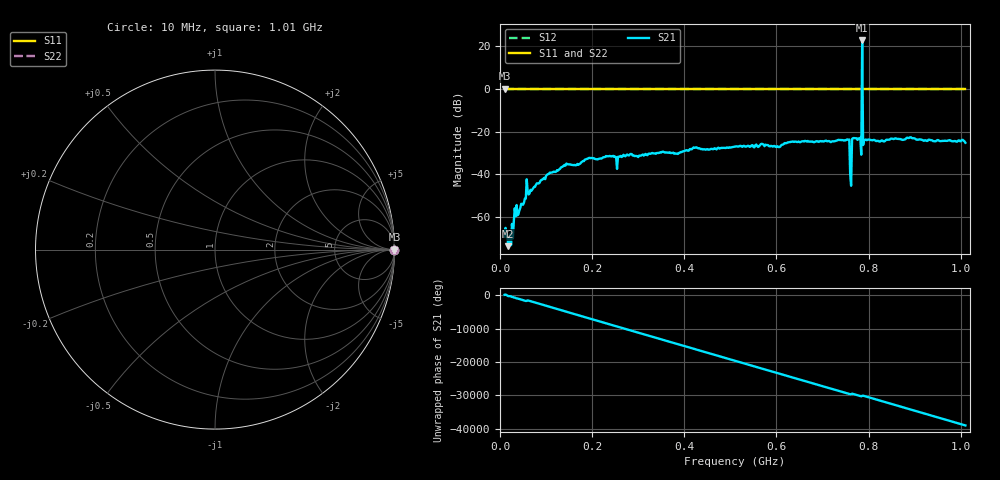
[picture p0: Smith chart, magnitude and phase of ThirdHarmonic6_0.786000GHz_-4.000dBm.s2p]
! 8/16/2025 2:13:25 AM
! C:\ANRITSUVNA\TEMP\TEMP.S2P
! CHANNEL.1
! TR.MEASUREMENT
! RAW.DATA
! RF.CORRECTION.OFF
! AVERAGING.OFF
! IF.BANDWIDTH: 5KHZ
! SWEEPTYPE:  FREQ.SWEEP(Linear)
! Reference Plane Port Info
! PORT:  PORT1  PORT2
! DISTANCE:  0  m  0  m
! TIME:  0  s  0  s
! PHASE.OFFSET:  0  deg.  0  deg.
! LOSS:  0  dB  0  dB
! REF.LOSS:  0  dB  0  dB
! REF.FREQ:  0  Hz  0  Hz
! Power Info
! POWER:  -20  dBm  -20  dBm
! EFF.POWER:  -20  dBm  -20  dBm
! SOURCE.ATTEN:  0  dB  0  dB
! TEST.ATTEN:  0  dB  0  dB
# GHZ S RI R 50.0
! FREQ.GHZ  S11RE  S11IM  S21RE  S21IM  S12RE  S12IM  S22RE  S22IM
!; PortSelection: Port_12
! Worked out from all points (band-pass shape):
!   501 points, 10 MHz to 1.01 GHz, reference 50 ohm
!   highest |S21| = 22.50 dB at 786 MHz (marker M1); lowest = -73.5 dB at 18 MHz (marker M2)
!   |S21| within 3 dB of the highest: 785.8875 MHz to 786.1229 MHz (235.4 kHz wide, 0.03 % of centre)
!   lowest |S11| = 0.0 dB at 10 MHz (marker M3)
!   |S11| at or under -10 dB: nowhere
!   |S22| runs from 0.0 to 0.0 dB; largest |S21 - S12| = 13
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0.01  1 0  -0.000318 0.00014  1 0  1 0
0.018  1 0  -9.06e-05 0.00019  1 0  1 0
0.024  1 0  0.000168 0.000147  1 0  1 0
0.034  1 0  1.65e-05 -0.00105  1 0  1 0
0.042  1 0  0.00129 -0.000651  1 0  1 0
0.062  1 0  -0.00292 -0.00174  1 0  1 0
0.142  1 0  -0.015 -0.00558  1 0  1 0
0.178  1 0  -0.0192 -0.00464  1 0  1 0
0.344  1 0  0.031 -0.00566  1 0  1 0
0.51  1 0  -0.0422 0.0136  1 0  1 0
0.678  1 0  -0.0261 -0.0524  1 0  1 0
0.754  1 0  0.0278 0.0591  1 0  1 0
0.758  1 0  -0.00523 -0.0647  1 0  1 0
0.764  1 0  0.0618 0.0261  1 0  1 0
0.768  1 0  -0.0543 -0.045  1 0  1 0
0.78  1 0  -0.00409 0.0689  1 0  1 0
0.782  1 0  0.0695 0.0147  1 0  1 0
0.786  1 0  4.778 12.44  1 0  1 0
0.79  1 0  0.0422 0.0456  1 0  1 0
0.792  1 0  0.0547 -0.0326  1 0  1 0
0.844  1 0  0.0474 0.0435  1 0  1 0
1.01  1 0  -0.0534 -0.0118  1 0  1 0
